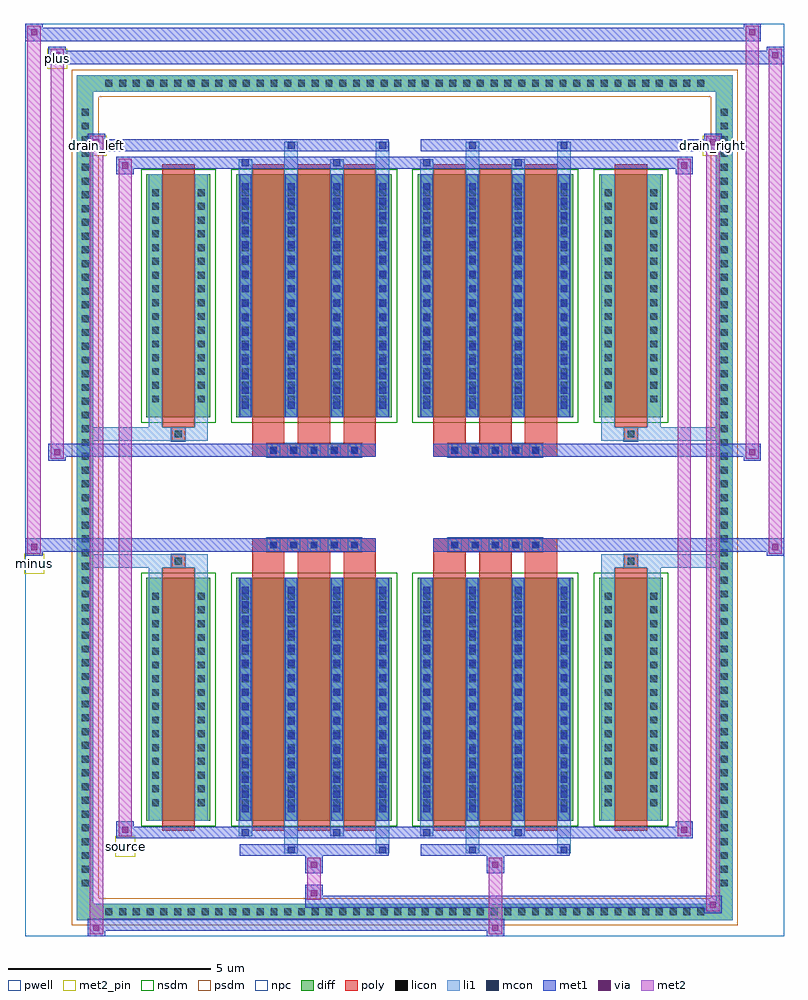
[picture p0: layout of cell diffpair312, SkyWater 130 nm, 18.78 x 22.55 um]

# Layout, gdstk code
import gdstk
lib = gdstk.Library(unit=1e-6, precision=5e-09)
def R(c, l, rs):  # rectangles x0, y0, x1, y1
    for r in rs: c.add(gdstk.rectangle(r[:2], r[2:], *l))
def A(c, l, x, y, w, h, nx, ny, dx, dy):  # array of equal rectangles
    R(c, l, [(x+i*dx, y+j*dy, x+i*dx+w, y+j*dy+h) for i in range(nx) for j in range(ny)])
def P(c, l, *ps):  # polygons
    for p in ps: c.add(gdstk.Polygon(p, *l))
pwell = (64, 44)
diff = (65, 20)
poly = (66, 20)
licon = (66, 44)
li1 = (67, 20)
mcon = (67, 44)
met1 = (68, 20)
via = (68, 44)
met2_pin = (69, 16)
met2 = (69, 20)
nsdm = (93, 44)
psdm = (94, 20)
npc = (95, 20)

diffpair312 = lib.new_cell('diffpair312')
R(diffpair312, pwell, [(-9.37,-10.84,9.37,11.71), (-6.69,-9.03,-0.01,-0.805), (0.01,-9.03,6.69,-0.805), (-6.69,0.805,-0.01,9.03), (0.01,0.805,6.69,9.03)])
A(diffpair312, diff, -7.515, -10.44, 0.41, 0.41, 44, 2, 0.34, 20.47)
A(diffpair312, diff, -8.1, -9.725, 0.41, 0.41, 1, 57, 0, 0.34)
A(diffpair312, diff, 7.69, -9.725, 0.41, 0.41, 1, 57, 0, 0.34)
R(diffpair312, diff, [(-7.515,-10.44,7.515,-10.03), (-8.1,-9.725,-7.69,9.725), (7.69,-9.725,8.1,9.725), (-6.38,-7.985,-4.8,-1.985), (-4.16,-7.985,-0.32,-1.985), (0.32,-7.985,4.16,-1.985), (4.8,-7.985,6.38,-1.985), (-6.38,1.985,-4.8,7.985), (-4.16,1.985,-0.32,7.985), (0.32,1.985,4.16,7.985), (4.8,1.985,6.38,7.985), (-7.515,10.03,7.515,10.44)])
P(diffpair312, diff, [(8.1,10.44),(-8.1,10.44),(-8.1,-10.03),(-7.69,-10.03),(-7.69,10.03),(7.69,10.03),(7.69,-10.03),(-7.69,-10.03),(-8.1,-10.03),(-8.1,-10.44),(8.1,-10.44)])
A(diffpair312, poly, -3.77, -8.235, 0.8, 6.5, 3, 2, 1.13, 9.97)
A(diffpair312, poly, 0.71, -8.235, 0.8, 6.5, 3, 2, 1.13, 9.97)
A(diffpair312, poly, -3.77, -1.735, 0.8, 0.4, 3, 2, 1.13, 3.07)
A(diffpair312, poly, 0.71, -1.735, 0.8, 0.4, 3, 2, 1.13, 3.07)
A(diffpair312, poly, -3.405, -1.335, 0.33, 0.33, 5, 2, 0.5, 2.34)
A(diffpair312, poly, 1.075, -1.335, 0.33, 0.33, 5, 2, 0.5, 2.34)
R(diffpair312, poly, [(-5.99,-8.235,-5.19,-1.735), (5.19,-8.235,5.99,-1.735), (-5.755,-1.735,-5.425,-1.405), (-5.755,-1.735,-5.425,-1.405), (5.425,-1.735,5.755,-1.405), (5.425,-1.735,5.755,-1.405), (-3.77,-1.335,-0.71,-1.005), (0.71,-1.335,3.77,-1.005), (-3.77,1.005,-0.71,1.335), (0.71,1.005,3.77,1.335), (-5.755,1.405,-5.425,1.735), (-5.755,1.405,-5.425,1.735), (5.425,1.405,5.755,1.735), (5.425,1.405,5.755,1.735), (-5.99,1.735,-5.19,8.235), (5.19,1.735,5.99,8.235)])
A(diffpair312, licon, -7.395, -10.32, 0.17, 0.17, 44, 2, 0.34, 20.47)
A(diffpair312, licon, -7.98, -9.605, 0.17, 0.17, 1, 57, 0, 0.34)
A(diffpair312, licon, 7.81, -9.605, 0.17, 0.17, 1, 57, 0, 0.34)
A(diffpair312, licon, -6.24, -7.62, 0.17, 0.17, 1, 16, 0, 0.34)
A(diffpair312, licon, -5.11, -7.62, 0.17, 0.17, 1, 16, 0, 0.34)
A(diffpair312, licon, -4.02, -7.62, 0.17, 0.17, 4, 16, 1.13, 0.34)
A(diffpair312, licon, 0.46, -7.62, 0.17, 0.17, 4, 16, 1.13, 0.34)
A(diffpair312, licon, 4.94, -7.62, 0.17, 0.17, 1, 16, 0, 0.34)
A(diffpair312, licon, 6.07, -7.62, 0.17, 0.17, 1, 16, 0, 0.34)
A(diffpair312, licon, -3.325, -1.255, 0.17, 0.17, 5, 2, 0.5, 2.34)
A(diffpair312, licon, 1.155, -1.255, 0.17, 0.17, 5, 2, 0.5, 2.34)
A(diffpair312, licon, -6.24, 2.35, 0.17, 0.17, 1, 16, 0, 0.34)
A(diffpair312, licon, -5.11, 2.35, 0.17, 0.17, 1, 16, 0, 0.34)
A(diffpair312, licon, -4.02, 2.35, 0.17, 0.17, 4, 16, 1.13, 0.34)
A(diffpair312, licon, 0.46, 2.35, 0.17, 0.17, 4, 16, 1.13, 0.34)
A(diffpair312, licon, 4.94, 2.35, 0.17, 0.17, 1, 16, 0, 0.34)
A(diffpair312, licon, 6.07, 2.35, 0.17, 0.17, 1, 16, 0, 0.34)
R(diffpair312, licon, [(-5.675,-1.655,-5.505,-1.485), (5.505,-1.655,5.675,-1.485), (-5.675,1.485,-5.505,1.655), (5.505,1.485,5.675,1.655)])
A(diffpair312, li1, -7.475, -10.4, 0.33, 0.33, 44, 2, 0.34, 20.47)
A(diffpair312, li1, -8.06, -9.685, 0.33, 0.33, 1, 57, 0, 0.34)
A(diffpair312, li1, 7.73, -9.685, 0.33, 0.33, 1, 57, 0, 0.34)
A(diffpair312, li1, -4.1, -7.985, 0.33, 6, 4, 2, 1.13, 9.97)
A(diffpair312, li1, 0.38, -7.985, 0.33, 6, 4, 2, 1.13, 9.97)
A(diffpair312, li1, -4.02, -7.77, 0.17, 0.17, 4, 16, 1.13, 0.36)
A(diffpair312, li1, -4.02, -7.77, 0.17, 5.57, 4, 2, 1.13, 9.97)
A(diffpair312, li1, 0.46, -7.77, 0.17, 0.17, 4, 16, 1.13, 0.36)
A(diffpair312, li1, 0.46, -7.77, 0.17, 5.57, 4, 2, 1.13, 9.97)
A(diffpair312, li1, -6.32, -7.7, 0.33, 0.33, 1, 16, 0, 0.34)
A(diffpair312, li1, -5.19, -7.7, 0.33, 0.33, 1, 16, 0, 0.34)
A(diffpair312, li1, -4.1, -7.7, 0.33, 0.33, 4, 16, 1.13, 0.34)
A(diffpair312, li1, 0.38, -7.7, 0.33, 0.33, 4, 16, 1.13, 0.34)
A(diffpair312, li1, 4.86, -7.7, 0.33, 0.33, 1, 16, 0, 0.34)
A(diffpair312, li1, 5.99, -7.7, 0.33, 0.33, 1, 16, 0, 0.34)
A(diffpair312, li1, -3.405, -1.335, 0.33, 0.33, 5, 2, 0.5, 2.34)
A(diffpair312, li1, 1.075, -1.335, 0.33, 0.33, 5, 2, 0.5, 2.34)
A(diffpair312, li1, -4.02, 2.2, 0.17, 0.17, 4, 16, 1.13, 0.36)
A(diffpair312, li1, 0.46, 2.2, 0.17, 0.17, 4, 16, 1.13, 0.36)
A(diffpair312, li1, -6.32, 2.27, 0.33, 0.33, 1, 16, 0, 0.34)
A(diffpair312, li1, -5.19, 2.27, 0.33, 0.33, 1, 16, 0, 0.34)
A(diffpair312, li1, -4.1, 2.27, 0.33, 0.33, 4, 16, 1.13, 0.34)
A(diffpair312, li1, 0.38, 2.27, 0.33, 0.33, 4, 16, 1.13, 0.34)
A(diffpair312, li1, 4.86, 2.27, 0.33, 0.33, 1, 16, 0, 0.34)
A(diffpair312, li1, 5.99, 2.27, 0.33, 0.33, 1, 16, 0, 0.34)
R(diffpair312, li1, [(-8.1,-10.44,-7.69,-10.03), (-8.1,-10.44,-7.69,-10.03), (-7.69,-10.44,7.69,-10.03), (7.69,-10.44,8.1,-10.03), (7.69,-10.44,8.1,-10.03), (-8.1,-10.03,-7.69,10.03), (7.69,-10.03,8.1,10.03), (-2.97,-8.79,-2.64,-7.985), (-2.89,-8.79,-2.72,-8.62), (-0.71,-8.79,-0.38,-7.985), (-0.63,-8.79,-0.46,-8.62), (1.51,-8.79,1.84,-7.985), (1.59,-8.79,1.76,-8.62), (3.77,-8.79,4.1,-7.985), (3.85,-8.79,4.02,-8.62), (-4.1,-8.36,-3.77,-7.985), (-4.02,-8.36,-3.85,-8.19), (-1.84,-8.36,-1.51,-7.985), (-1.76,-8.36,-1.59,-8.19), (0.38,-8.36,0.71,-7.985), (0.46,-8.36,0.63,-8.19), (2.64,-8.36,2.97,-7.985), (2.72,-8.36,2.89,-8.19), (-6.32,-7.985,-5.99,-1.985), (-5.19,-7.985,-4.86,-1.985), (4.86,-7.985,5.19,-1.985), (5.99,-7.985,6.32,-1.985), (-6.32,-1.985,-5.99,-1.405), (-5.19,-1.985,-4.86,-1.405), (4.86,-1.985,5.19,-1.405), (5.99,-1.985,6.32,-1.405), (-8.1,-1.735,-5.755,-1.405), (-6.32,-1.735,-5.755,-1.405), (-5.755,-1.735,-5.425,-1.405), (-5.425,-1.735,-4.86,-1.405), (4.86,-1.735,5.425,-1.405), (5.425,-1.735,5.755,-1.405), (5.425,-1.735,8.1,-1.405), (5.755,-1.735,6.32,-1.405), (-8.1,1.405,-5.755,1.735), (-6.32,1.405,-5.755,1.735), (-6.32,1.405,-5.99,1.985), (-5.755,1.405,-5.425,1.735), (-5.425,1.405,-4.86,1.735), (-5.19,1.405,-4.86,1.985), (4.86,1.405,5.425,1.735), (4.86,1.405,5.19,1.985), (5.425,1.405,5.755,1.735), (5.425,1.405,8.1,1.735), (5.755,1.405,6.32,1.735), (5.99,1.405,6.32,1.985), (-6.32,1.985,-5.99,7.985), (-5.19,1.985,-4.86,7.985), (4.86,1.985,5.19,7.985), (5.99,1.985,6.32,7.985), (-4.1,7.985,-3.77,8.36), (-2.97,7.985,-2.64,8.79), (-1.84,7.985,-1.51,8.36), (-0.71,7.985,-0.38,8.79), (0.38,7.985,0.71,8.36), (1.51,7.985,1.84,8.79), (2.64,7.985,2.97,8.36), (3.77,7.985,4.1,8.79), (-4.02,8.19,-3.85,8.36), (-1.76,8.19,-1.59,8.36), (0.46,8.19,0.63,8.36), (2.72,8.19,2.89,8.36), (-2.89,8.62,-2.72,8.79), (-0.63,8.62,-0.46,8.79), (1.59,8.62,1.76,8.79), (3.85,8.62,4.02,8.79), (-8.1,10.03,-7.69,10.44), (-8.1,10.03,-7.69,10.44), (-7.69,10.03,7.69,10.44), (7.69,10.03,8.1,10.44), (7.69,10.03,8.1,10.44)])
A(diffpair312, mcon, -4.02, -7.77, 0.17, 0.17, 4, 16, 1.13, 0.36)
A(diffpair312, mcon, 0.46, -7.77, 0.17, 0.17, 4, 16, 1.13, 0.36)
A(diffpair312, mcon, -3.325, -1.255, 0.17, 0.17, 5, 2, 0.5, 2.34)
A(diffpair312, mcon, 1.155, -1.255, 0.17, 0.17, 5, 2, 0.5, 2.34)
A(diffpair312, mcon, -4.02, 2.2, 0.17, 0.17, 4, 16, 1.13, 0.36)
A(diffpair312, mcon, 0.46, 2.2, 0.17, 0.17, 4, 16, 1.13, 0.36)
R(diffpair312, mcon, [(-2.89,-8.79,-2.72,-8.62), (-0.63,-8.79,-0.46,-8.62), (1.59,-8.79,1.76,-8.62), (3.85,-8.79,4.02,-8.62), (-4.02,-8.36,-3.85,-8.19), (-1.76,-8.36,-1.59,-8.19), (0.46,-8.36,0.63,-8.19), (2.72,-8.36,2.89,-8.19), (-4.02,8.19,-3.85,8.36), (-1.76,8.19,-1.59,8.36), (0.46,8.19,0.63,8.36), (2.72,8.19,2.89,8.36), (-2.89,8.62,-2.72,8.79), (-0.63,8.62,-0.46,8.79), (1.59,8.62,1.76,8.79), (3.85,8.62,4.02,8.79)])
A(diffpair312, met1, -4.08, -7.985, 0.29, 6, 4, 2, 1.13, 9.97)
A(diffpair312, met1, 0.4, -7.985, 0.29, 6, 4, 2, 1.13, 9.97)
A(diffpair312, met1, -4.08, -7.83, 0.29, 0.29, 4, 16, 1.13, 0.36)
A(diffpair312, met1, 0.4, -7.83, 0.29, 0.29, 4, 16, 1.13, 0.36)
A(diffpair312, met1, -3.385, -1.315, 0.29, 0.29, 5, 2, 0.5, 2.34)
A(diffpair312, met1, 1.095, -1.315, 0.29, 0.29, 5, 2, 0.5, 2.34)
A(diffpair312, met1, -4.08, 2.14, 0.29, 0.29, 4, 16, 1.13, 0.36)
A(diffpair312, met1, 0.4, 2.14, 0.29, 0.29, 4, 16, 1.13, 0.36)
R(diffpair312, met1, [(-7.83,-10.84,-7.4,-10.41), (2.025,-10.84,2.455,-10.41), (-7.83,-10.7,2.455,-10.41), (7.4,-10.27,7.83,-9.84), (-2.455,-10.13,7.83,-9.84), (-2.455,-9.99,-2.025,-9.56), (-2.455,-9.28,-2.025,-8.85), (2.025,-9.28,2.455,-8.85), (-4.08,-8.85,-0.4,-8.56), (-2.95,-8.85,-2.66,-8.56), (-0.69,-8.85,-0.4,-8.56), (0.4,-8.85,4.08,-8.56), (1.53,-8.85,1.82,-8.56), (3.79,-8.85,4.08,-8.56), (-7.12,-8.42,-6.69,-7.99), (-7.12,-8.42,-4.08,-8.13), (-4.08,-8.42,-3.79,-8.13), (-4.08,-8.42,-0.4,-8.13), (-1.82,-8.42,-1.53,-8.13), (-0.4,-8.42,0.4,-8.13), (0.4,-8.42,0.69,-8.13), (0.4,-8.42,4.08,-8.13), (2.66,-8.42,2.95,-8.13), (4.08,-8.42,7.12,-8.13), (6.69,-8.42,7.12,-7.99), (-9.37,-1.435,-8.94,-1.005), (8.94,-1.435,9.37,-1.005), (-9.37,-1.335,-0.71,-1.005), (-3.77,-1.335,-0.71,-1.005), (0.71,-1.335,3.77,-1.005), (0.71,-1.335,9.37,-1.005), (-8.8,0.905,-8.37,1.335), (8.37,0.905,8.8,1.335), (-8.8,1.005,-3.77,1.335), (-3.77,1.005,-0.71,1.335), (0.71,1.005,3.77,1.335), (3.77,1.005,8.8,1.335), (-7.12,7.99,-6.69,8.42), (6.69,7.99,7.12,8.42), (-7.12,8.13,-4.08,8.42), (-4.08,8.13,-3.79,8.42), (-4.08,8.13,-0.4,8.42), (-1.82,8.13,-1.53,8.42), (-0.4,8.13,0.4,8.42), (0.4,8.13,0.69,8.42), (0.4,8.13,4.08,8.42), (2.66,8.13,2.95,8.42), (4.08,8.13,7.12,8.42), (-7.83,8.56,-7.4,8.99), (-7.83,8.56,-4.08,8.85), (-4.08,8.56,-0.4,8.85), (-2.95,8.56,-2.66,8.85), (-0.69,8.56,-0.4,8.85), (0.4,8.56,4.08,8.85), (1.53,8.56,1.82,8.85), (3.79,8.56,4.08,8.85), (4.08,8.56,7.83,8.85), (7.4,8.56,7.83,8.99), (-8.8,10.71,-8.37,11.14), (-8.8,10.71,-6.69,11.04), (-6.69,10.71,6.69,11.04), (6.69,10.71,9.37,11.04), (8.94,10.71,9.37,11.14), (-9.37,11.28,-8.94,11.71), (-9.37,11.28,-6.69,11.61), (-6.69,11.28,6.69,11.61), (6.69,11.28,8.8,11.61), (8.37,11.28,8.8,11.71)])
R(diffpair312, via, [(-7.69,-10.7,-7.54,-10.55), (2.165,-10.7,2.315,-10.55), (7.54,-10.13,7.69,-9.98), (-2.315,-9.85,-2.165,-9.7), (-2.315,-9.14,-2.165,-8.99), (2.165,-9.14,2.315,-8.99), (-6.98,-8.28,-6.83,-8.13), (6.83,-8.28,6.98,-8.13), (-9.23,-1.295,-9.08,-1.145), (9.08,-1.295,9.23,-1.145), (-8.66,1.045,-8.51,1.195), (8.51,1.045,8.66,1.195), (-6.98,8.13,-6.83,8.28), (6.83,8.13,6.98,8.28), (-7.69,8.7,-7.54,8.85), (7.54,8.7,7.69,8.85), (-8.66,10.85,-8.51,11), (9.08,10.85,9.23,11), (-9.23,11.42,-9.08,11.57), (8.51,11.42,8.66,11.57)])
R(diffpair312, met2_pin, [(-7.155,-8.87,-6.655,-8.37), (-9.405,-1.885,-8.905,-1.385), (-7.865,8.44,-7.365,8.94), (7.365,8.44,7.865,8.94), (-8.835,10.59,-8.335,11.09)])
R(diffpair312, met2, [(-7.78,-10.79,-7.45,-10.46), (-7.78,-10.79,-7.45,8.94), (2.075,-10.79,2.405,-10.46), (2.075,-10.46,2.405,-9.23), (7.45,-10.22,7.78,-9.89), (7.45,-10.22,7.78,8.94), (-2.405,-9.94,-2.075,-9.61), (-2.405,-9.61,-2.075,-9.23), (-2.405,-9.23,-2.075,-8.9), (2.075,-9.23,2.405,-8.9), (-7.07,-8.37,-6.74,-8.04), (-7.07,-8.37,-6.74,8.37), (6.74,-8.37,7.07,-8.04), (6.74,-8.37,7.07,8.37), (-9.32,-1.385,-8.99,-1.055), (-9.32,-1.385,-8.99,11.66), (8.99,-1.385,9.32,-1.055), (8.99,-1.385,9.32,11.09), (-8.75,0.955,-8.42,1.285), (-8.75,0.955,-8.42,11.09), (8.42,0.955,8.75,1.285), (8.42,0.955,8.75,11.66), (-7.07,8.04,-6.74,8.37), (6.74,8.04,7.07,8.37), (-7.78,8.61,-7.45,8.94), (7.45,8.61,7.78,8.94), (-8.75,10.76,-8.42,11.09), (8.99,10.76,9.32,11.09), (-9.32,11.33,-8.99,11.66), (8.42,11.33,8.75,11.66)])
P(diffpair312, met2, [(9.32,-1.385),(9.32,-1.385),(9.32,-1.055),(9.32,-1.055)],
  [(9.32,10.76),(9.32,10.76),(9.32,11.09),(9.32,11.09)],
  [(-8.99,-1.385),(-8.99,-1.385),(-8.99,-1.055),(-8.99,-1.055)],
  [(-8.99,11.33),(-8.99,11.33),(-8.99,11.66),(-8.99,11.66)],
  [(8.75,0.955),(8.75,0.955),(8.75,1.285),(8.75,1.285)],
  [(8.75,11.33),(8.75,11.33),(8.75,11.66),(8.75,11.66)],
  [(-8.42,0.955),(-8.42,0.955),(-8.42,1.285),(-8.42,1.285)],
  [(-8.42,10.76),(-8.42,10.76),(-8.42,11.09),(-8.42,11.09)],
  [(-7.45,-10.79),(-7.45,-10.79),(-7.45,-10.46),(-7.45,-10.46)],
  [(-7.45,8.61),(-7.45,8.61),(-7.45,8.94),(-7.45,8.94)],
  [(7.78,-10.22),(7.78,-10.22),(7.78,-9.89),(7.78,-9.89)],
  [(7.78,8.61),(7.78,8.61),(7.78,8.94),(7.78,8.94)],
  [(-6.74,-8.37),(-6.74,-8.37),(-6.74,-8.04),(-6.74,-8.04)],
  [(-6.74,8.04),(-6.74,8.04),(-6.74,8.37),(-6.74,8.37)],
  [(7.07,-8.37),(7.07,-8.37),(7.07,-8.04),(7.07,-8.04)],
  [(7.07,8.04),(7.07,8.04),(7.07,8.37),(7.07,8.37)])
R(diffpair312, nsdm, [(-6.51,-8.115,-4.67,-1.855), (-4.29,-8.115,-0.19,-1.855), (0.19,-8.115,4.29,-1.855), (4.67,-8.115,6.51,-1.855), (-6.51,1.855,-4.67,8.115), (-4.29,1.855,-0.19,8.115), (0.19,1.855,4.29,8.115), (4.67,1.855,6.51,8.115)])
P(diffpair312, psdm, [(8.23,10.57),(-8.23,10.57),(-8.23,-9.9),(-7.56,-9.9),(-7.56,9.9),(7.56,9.9),(7.56,-9.9),(-7.56,-9.9),(-8.23,-9.9),(-8.23,-10.57),(8.23,-10.57)])
A(diffpair312, npc, -3.425, -1.355, 0.37, 0.37, 5, 2, 0.5, 2.34)
A(diffpair312, npc, 1.055, -1.355, 0.37, 0.37, 5, 2, 0.5, 2.34)
R(diffpair312, npc, [(-5.775,-1.755,-5.405,-1.385), (5.405,-1.755,5.775,-1.385), (-3.425,-1.355,-2.555,-0.985), (-3.425,-1.355,-2.555,-0.985), (-2.925,-1.355,-2.055,-0.985), (-2.925,-1.355,-2.055,-0.985), (-2.425,-1.355,-1.555,-0.985), (-2.425,-1.355,-1.555,-0.985), (-1.925,-1.355,-1.055,-0.985), (-1.925,-1.355,-1.055,-0.985), (1.055,-1.355,1.925,-0.985), (1.055,-1.355,1.925,-0.985), (1.555,-1.355,2.425,-0.985), (1.555,-1.355,2.425,-0.985), (2.055,-1.355,2.925,-0.985), (2.055,-1.355,2.925,-0.985), (2.555,-1.355,3.425,-0.985), (2.555,-1.355,3.425,-0.985), (-3.425,0.985,-2.555,1.355), (-3.425,0.985,-2.555,1.355), (-2.925,0.985,-2.055,1.355), (-2.925,0.985,-2.055,1.355), (-2.425,0.985,-1.555,1.355), (-2.425,0.985,-1.555,1.355), (-1.925,0.985,-1.055,1.355), (-1.925,0.985,-1.055,1.355), (1.055,0.985,1.925,1.355), (1.055,0.985,1.925,1.355), (1.555,0.985,2.425,1.355), (1.555,0.985,2.425,1.355), (2.055,0.985,2.925,1.355), (2.055,0.985,2.925,1.355), (2.555,0.985,3.425,1.355), (2.555,0.985,3.425,1.355), (-5.775,1.385,-5.405,1.755), (5.405,1.385,5.775,1.755)])
diffpair312.add(gdstk.Label('minus', (-9.155,-1.635), layer=69, texttype=5))
diffpair312.add(gdstk.Label('drain_right', (7.615,8.69), layer=69, texttype=5))
diffpair312.add(gdstk.Label('drain_left', (-7.615,8.69), layer=69, texttype=5))
diffpair312.add(gdstk.Label('source', (-6.905,-8.62), layer=69, texttype=5))
diffpair312.add(gdstk.Label('plus', (-8.585,10.84), layer=69, texttype=5))

lib.write_gds('diffpair312.gds')
